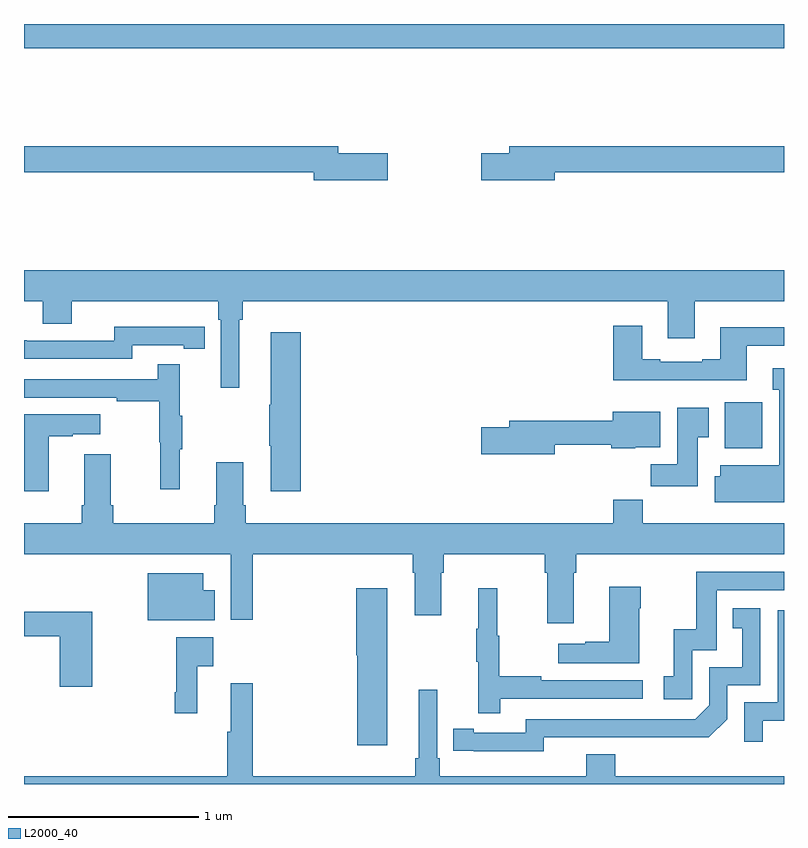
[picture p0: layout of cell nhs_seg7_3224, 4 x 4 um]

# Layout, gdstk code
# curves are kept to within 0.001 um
import gdstk
lib = gdstk.Library(unit=1e-6, precision=1e-09)
def R(c, l, rs):  # rectangles x0, y0, x1, y1
    for r in rs: c.add(gdstk.rectangle(r[:2], r[2:], *l))
def P(c, l, *ps):  # polygons
    for p in ps: c.add(gdstk.Polygon(p, *l))
L2000_40 = (2000, 40)

nhs_seg7_3224 = lib.new_cell('nhs_seg7_3224')
R(nhs_seg7_3224, L2000_40, [(318.689,1075.766,318.886,1076.008), (315,1077.872,319,1078)])
P(nhs_seg7_3224, L2000_40, [(317.794,1077.22),(319,1077.22),(319,1077.356),(317.555,1077.356),(317.555,1077.32),(317.406,1077.32),(317.406,1077.178),(317.794,1077.178)],
  [(316.915,1077.32),(316.654,1077.32),(316.654,1077.356),(315,1077.356),(315,1077.22),(316.526,1077.22),(316.526,1077.178),(316.915,1077.178)],
  [(316.132,1076.444),(316.151,1076.444),(316.151,1076.54),(318.389,1076.54),(318.389,1076.346),(318.529,1076.346),(318.529,1076.54),(319,1076.54),(319,1076.704),(315,1076.704),(315,1076.54),(315.098,1076.54),(315.098,1076.423),(315.25,1076.423),(315.25,1076.54),(316.022,1076.54),(316.022,1076.444),(316.035,1076.444),(316.035,1076.085),(316.132,1076.085)],
  [(318.805,1076.307),(319,1076.307),(319,1076.404),(318.665,1076.404),(318.665,1076.236),(318.569,1076.236),(318.569,1076.223),(318.349,1076.223),(318.349,1076.236),(318.253,1076.236),(318.253,1076.413),(318.101,1076.413),(318.101,1076.126),(318.805,1076.126)],
  [(315.57,1076.31),(315.842,1076.31),(315.842,1076.29),(315.95,1076.29),(315.95,1076.406),(315.842,1076.406),(315.842,1076.407),(315.474,1076.407),(315.474,1076.334),(315.014,1076.334),(315.014,1076.336),(315,1076.336),(315,1076.238),(315.57,1076.238)],
  [(316.457,1076.377),(316.298,1076.377),(316.298,1075.997),(316.291,1075.997),(316.291,1075.78),(316.298,1075.78),(316.298,1075.542),(316.457,1075.542)],
  [(315.821,1075.763),(315.832,1075.763),(315.832,1075.937),(315.821,1075.937),(315.821,1076.209),(315.703,1076.209),(315.703,1076.13),(315,1076.13),(315,1076.034),(315.487,1076.034),(315.487,1076.014),(315.711,1076.014),(315.711,1075.8),(315.718,1075.8),(315.718,1075.551),(315.821,1075.551)],
  [(319,1076.188),(318.941,1076.188),(318.941,1076.075),(318.974,1076.075),(318.974,1075.678),(318.665,1075.678),(318.665,1075.619),(318.635,1075.619),(318.635,1075.484),(319,1075.484)],
  [(318.547,1075.825),(318.604,1075.825),(318.604,1075.981),(318.437,1075.981),(318.437,1075.684),(318.298,1075.684),(318.298,1075.566),(318.547,1075.566)],
  [(317.794,1075.785),(318.091,1075.785),(318.091,1075.766),(318.216,1075.766),(318.216,1075.772),(318.349,1075.772),(318.349,1075.96),(318.098,1075.96),(318.098,1075.913),(317.555,1075.913),(317.555,1075.877),(317.406,1075.877),(317.406,1075.735),(317.794,1075.735)],
  [(315.13,1075.831),(315.257,1075.831),(315.257,1075.841),(315.4,1075.841),(315.4,1075.945),(315,1075.945),(315,1075.542),(315.13,1075.542)],
  [(316.166,1075.468),(316.153,1075.468),(316.153,1075.693),(316.013,1075.693),(316.013,1075.468),(316.001,1075.468),(316.001,1075.372),(315.47,1075.372),(315.47,1075.468),(315.457,1075.468),(315.457,1075.735),(315.317,1075.735),(315.317,1075.468),(315.305,1075.468),(315.305,1075.372),(315,1075.372),(315,1075.208),(316.089,1075.208),(316.089,1074.864),(316.205,1074.864),(316.205,1075.208),(317.045,1075.208),(317.045,1075.112),(317.057,1075.112),(317.057,1074.888),(317.197,1074.888),(317.197,1075.112),(317.21,1075.112),(317.21,1075.208),(317.741,1075.208),(317.741,1075.112),(317.753,1075.112),(317.753,1074.846),(317.893,1074.846),(317.893,1075.112),(317.906,1075.112),(317.906,1075.208),(319,1075.208),(319,1075.372),(318.257,1075.372),(318.257,1075.496),(318.101,1075.496),(318.101,1075.372),(316.166,1075.372)],
  [(318.516,1074.705),(318.645,1074.705),(318.645,1075.02),(319,1075.02),(319,1075.116),(318.537,1075.116),(318.537,1074.814),(318.419,1074.814),(318.419,1074.567),(318.366,1074.567),(318.366,1074.447),(318.516,1074.447)],
  [(316.004,1075.021),(315.943,1075.021),(315.943,1075.108),(315.65,1075.108),(315.65,1074.863),(316.004,1074.863)],
  [(318.238,1074.926),(318.246,1074.926),(318.246,1075.039),(318.08,1075.039),(318.08,1074.749),(317.954,1074.749),(317.954,1074.739),(317.811,1074.739),(317.811,1074.635),(318.238,1074.635)],
  [(317.507,1074.45),(318.256,1074.45),(318.256,1074.546),(317.723,1074.546),(317.723,1074.566),(317.5,1074.566),(317.5,1074.78),(317.492,1074.78),(317.492,1075.03),(317.39,1075.03),(317.39,1074.817),(317.379,1074.817),(317.379,1074.643),(317.39,1074.643),(317.39,1074.372),(317.507,1074.372)],
  [(316.912,1075.03),(316.748,1075.03),(316.748,1074.678),(316.754,1074.678),(316.754,1074.204),(316.912,1074.204)],
  [(317.736,1074.246),(318.604,1074.245),(318.702,1074.342),(318.702,1074.519),(318.876,1074.519),(318.876,1074.925),(318.73,1074.925),(318.73,1074.819),(318.779,1074.819),(318.779,1074.615),(318.606,1074.615),(318.606,1074.414),(318.534,1074.342),(317.64,1074.342),(317.64,1074.27),(317.368,1074.27),(317.368,1074.29),(317.26,1074.29),(317.26,1074.174),(317.736,1074.173)],
  [(318.889,1074.333),(319,1074.333),(319,1074.915),(318.966,1074.915),(318.966,1074.429),(318.792,1074.429),(318.792,1074.222),(318.889,1074.222)],
  [(315.36,1074.907),(315,1074.907),(315,1074.778),(315.187,1074.778),(315.187,1074.513),(315.36,1074.513)],
  [(315.911,1074.62),(315.997,1074.62),(315.997,1074.772),(315.801,1074.772),(315.801,1074.484),(315.793,1074.484),(315.793,1074.372),(315.911,1074.372)],
  [(319,1074.04),(318.113,1074.04),(318.113,1074.157),(317.96,1074.157),(317.96,1074.04),(317.189,1074.04),(317.189,1074.136),(317.175,1074.136),(317.175,1074.496),(317.078,1074.496),(317.078,1074.136),(317.059,1074.136),(317.059,1074.04),(316.205,1074.04),(316.205,1074.529),(316.088,1074.529),(316.088,1074.276),(316.069,1074.276),(316.069,1074.04),(315,1074.04),(315,1074),(319,1074)])

lib.write_gds('nhs_seg7_3224.gds')
